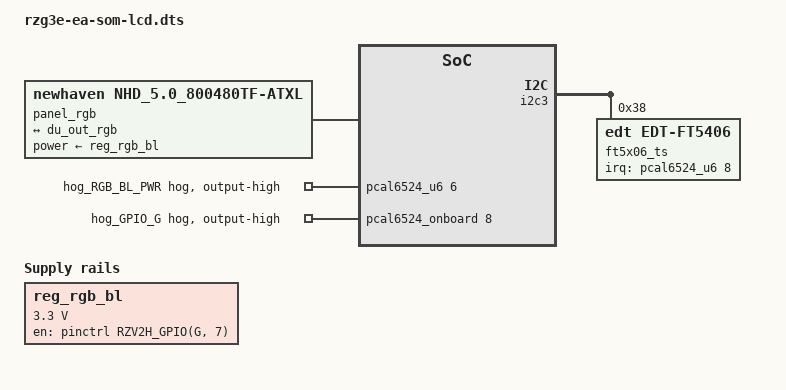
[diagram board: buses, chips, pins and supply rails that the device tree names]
// SPDX-License-Identifier: (GPL-2.0-only OR BSD-2-Clause)
/*
 * Device Tree Source for the Embedded Artists RZ/G3E SOM Board
 *
 * Copyright (C) 2025 Embedded Artists AB.
 */

/dts-v1/;
#include "rzg3e-ea-som.dtsi"

/ {
	reg_rgb_bl: regulator-rgb-bl {
		compatible = "regulator-fixed";

		regulator-name = "RGB BL";
		regulator-min-microvolt = <3300000>;
		regulator-max-microvolt = <3300000>;

		gpios = <&pinctrl RZV2H_GPIO(G, 7) GPIO_ACTIVE_HIGH>;
		enable-active-high;
	};

	panel_rgb {
		/*compatible = "newhaven,nhd-4.3-480272ef-atxl";*/
		compatible = "newhaven,nhd_5.0_800480tf-atxl";
		power-supply = <&reg_rgb_bl>;

		port {
			panel_in_rgb: endpoint {
				remote-endpoint = <&du_out_rgb>;
			};
		};
	};
};

&pcal6524_u6 {
	hog_RGB_BL_PWR {
		gpio-hog;
		gpios = <6 0>;
		output-high;
	};
};

&pcal6524_onboard {
	hog_GPIO_G { /* GPIO_G-LCD_DISP_EN */
		gpio-hog;
		gpios = <8 0>;
		output-high;
	};
};

&pinctrl {
	du_pins: du {
		clk {
			pinmux = <RZV2H_PORT_PINMUX(5, 0, 1)>; /* LCD_CLK */
			renesas,output-impedance = <3>;
		};

		sync {
			pinmux = <RZV2H_PORT_PINMUX(5, 1, 1)>, /* LCD_HSYNC */
				 <RZV2H_PORT_PINMUX(5, 2, 1)>; /* LCD_VSYNC */
		};

		de {
			pinmux = <RZV2H_PORT_PINMUX(5, 3, 1)>; /* LCD_DE */
		};

		data {
			pinmux = <RZV2H_PORT_PINMUX(5, 4, 1)>, /* LCD_G7 */
				 <RZV2H_PORT_PINMUX(5, 5, 1)>, /* LCD_B7 */
				 <RZV2H_PORT_PINMUX(5, 6, 1)>, /* LCD_R7 */
				 <RZV2H_PORT_PINMUX(6, 0, 1)>, /* LCD_G6 */
				 <RZV2H_PORT_PINMUX(6, 1, 1)>, /* LCD_B6 */
				 <RZV2H_PORT_PINMUX(6, 2, 1)>, /* LCD_R6 */
				 <RZV2H_PORT_PINMUX(6, 3, 1)>, /* LCD_G5 */
				 <RZV2H_PORT_PINMUX(6, 4, 1)>, /* LCD_B5 */
				 <RZV2H_PORT_PINMUX(6, 5, 1)>, /* LCD_R5 */
				 <RZV2H_PORT_PINMUX(6, 6, 1)>, /* LCD_G4 */
				 <RZV2H_PORT_PINMUX(7, 0, 1)>, /* LCD_B4 */
				 <RZV2H_PORT_PINMUX(7, 1, 1)>, /* LCD_R4 */
				 <RZV2H_PORT_PINMUX(7, 2, 1)>, /* LCD_G3 */
				 <RZV2H_PORT_PINMUX(7, 3, 1)>, /* LCD_B3 */
				 <RZV2H_PORT_PINMUX(7, 4, 1)>, /* LCD_R3 */
				 <RZV2H_PORT_PINMUX(7, 5, 1)>, /* LCD_G2 */
				 <RZV2H_PORT_PINMUX(7, 6, 1)>, /* LCD_B2 */
				 <RZV2H_PORT_PINMUX(7, 7, 1)>, /* LCD_R2 */
				 <RZV2H_PORT_PINMUX(8, 0, 1)>, /* LCD_G1 */
				 <RZV2H_PORT_PINMUX(8, 1, 1)>, /* LCD_B1 */
				 <RZV2H_PORT_PINMUX(8, 2, 1)>, /* LCD_R1 */
				 <RZV2H_PORT_PINMUX(8, 3, 1)>, /* LCD_G0 */
				 <RZV2H_PORT_PINMUX(8, 4, 1)>, /* LCD_B0 */
				 <RZV2H_PORT_PINMUX(8, 5, 1)>; /* LCD_R0 */
		};
	};
};

&du {
	pinctrl-0 = <&du_pins>;
	pinctrl-names = "default";

	ports {
		port@1 {
			du_out_rgb: endpoint {
				remote-endpoint = <&panel_in_rgb>;
			};
		};
	};
};

&i2c3 {
	/* Capacitive touch controller */
	ft5x06_ts: touchscreen@38 {
		compatible = "edt,edt-ft5406";
		reg = <0x38>;
		interrupt-parent = <&pcal6524_u6>;
		interrupts = <8 IRQ_TYPE_LEVEL_HIGH>; /* I2C_GPIO1_IO1_0-RGB_CTP_IRQ */

		touchscreen-size-x = <800>;
		touchscreen-size-y = <480>;
		touchscreen-inverted-x;
		touchscreen-inverted-y;
	};

};
